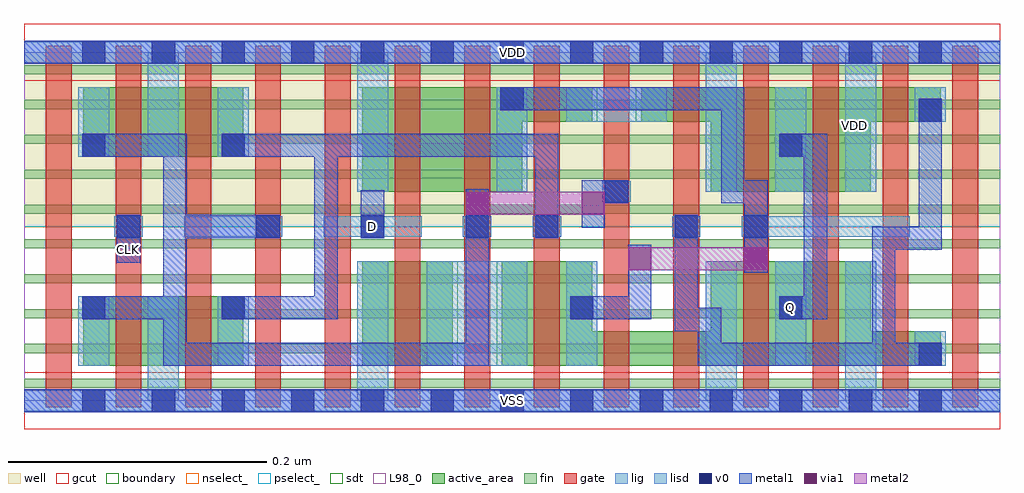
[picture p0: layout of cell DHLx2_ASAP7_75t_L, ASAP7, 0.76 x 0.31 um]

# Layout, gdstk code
import gdstk
lib = gdstk.Library(unit=1e-6, precision=2.5e-10)
def R(c, l, rs):  # rectangles x0, y0, x1, y1
    for r in rs: c.add(gdstk.rectangle(r[:2], r[2:], *l))
def A(c, l, x, y, w, h, nx, ny, dx, dy):  # array of equal rectangles
    R(c, l, [(x+i*dx, y+j*dy, x+i*dx+w, y+j*dy+h) for i in range(nx) for j in range(ny)])
def P(c, l, *ps):  # polygons
    for p in ps: c.add(gdstk.Polygon(p, *l))
well = (1, 0)
fin = (2, 0)
gate = (7, 0)
gcut = (10, 0)
active_area = (11, 0)
nselect_ = (12, 0)
pselect_ = (13, 0)
lig = (16, 0)
lisd = (17, 0)
v0 = (18, 0)
metal1 = (19, 0)
metal2 = (20, 0)
via1 = (21, 0)
sdt = (88, 0)
L98_0 = (98, 0)
boundary = (100, 0)

dhlx2_asap7_75t_l = lib.new_cell('DHLx2_ASAP7_75t_L')
R(dhlx2_asap7_75t_l, well, [(0,0.135,0.756,0.27)])
A(dhlx2_asap7_75t_l, fin, 0, 0.01, 0.756, 0.007, 1, 10, 0, 0.027)
A(dhlx2_asap7_75t_l, gate, 0.017, -0.005, 0.02, 0.28, 14, 1, 0.054, 0)
R(dhlx2_asap7_75t_l, gcut, [(0,-0.022,0.756,0.022), (0,0.248,0.756,0.292)])
R(dhlx2_asap7_75t_l, active_area, [(0.046,0.027,0.17,0.081), (0.262,0.027,0.332,0.108), (0.046,0.189,0.17,0.243)])
P(dhlx2_asap7_75t_l, active_area, [(0.37,0.027),(0.37,0.108),(0.44,0.108),(0.44,0.054),(0.532,0.054),(0.532,0.108),(0.656,0.108),(0.656,0.054),(0.71,0.054),(0.71,0.027)],
  [(0.532,0.162),(0.532,0.216),(0.478,0.216),(0.478,0.243),(0.71,0.243),(0.71,0.216),(0.656,0.216),(0.656,0.162)],
  [(0.262,0.162),(0.262,0.243),(0.44,0.243),(0.44,0.216),(0.386,0.216),(0.386,0.162)])
R(dhlx2_asap7_75t_l, nselect_, [(0,0,0.756,0.135)])
R(dhlx2_asap7_75t_l, pselect_, [(0,0.135,0.756,0.27)])
R(dhlx2_asap7_75t_l, lig, [(0,-0.008,0.756,0.008), (0.07,0.127,0.092,0.143), (0.124,0.127,0.2,0.143), (0.232,0.127,0.308,0.143), (0.34,0.127,0.362,0.143), (0.394,0.127,0.416,0.143), (0.502,0.127,0.524,0.143), (0.556,0.127,0.686,0.143), (0.448,0.154,0.47,0.17), (0,0.262,0.756,0.278)])
R(dhlx2_asap7_75t_l, lisd, [(0.096,0,0.12,0.081), (0.258,0,0.282,0.108), (0.528,0,0.552,0.108), (0.636,0,0.66,0.108), (0.042,0.027,0.066,0.081), (0.15,0.027,0.174,0.081), (0.312,0.027,0.39,0.108), (0.42,0.027,0.444,0.108), (0.582,0.027,0.606,0.108), (0.69,0.027,0.714,0.054), (0.258,0.162,0.282,0.27), (0.366,0.162,0.39,0.243), (0.528,0.162,0.552,0.27), (0.582,0.162,0.606,0.243), (0.636,0.162,0.66,0.27), (0.042,0.189,0.066,0.243), (0.096,0.189,0.12,0.27), (0.15,0.189,0.174,0.243), (0.42,0.216,0.498,0.243), (0.69,0.216,0.714,0.243)])
A(dhlx2_asap7_75t_l, v0, 0.045, -0.009, 0.018, 0.018, 13, 2, 0.054, 0.27)
A(dhlx2_asap7_75t_l, v0, 0.18, 0.126, 0.018, 0.018, 3, 1, 0.081, 0)
R(dhlx2_asap7_75t_l, v0, [(0.693,0.027,0.711,0.045), (0.045,0.063,0.063,0.081), (0.153,0.063,0.171,0.081), (0.423,0.063,0.441,0.081), (0.585,0.063,0.603,0.081), (0.072,0.126,0.09,0.144), (0.396,0.126,0.414,0.144), (0.504,0.126,0.522,0.144), (0.558,0.126,0.576,0.144), (0.45,0.153,0.468,0.171), (0.045,0.189,0.063,0.207), (0.153,0.189,0.171,0.207), (0.585,0.189,0.603,0.207), (0.693,0.216,0.711,0.234), (0.369,0.225,0.387,0.243)])
R(dhlx2_asap7_75t_l, metal1, [(0,-0.009,0.756,0.009), (0.072,0.107,0.09,0.144), (0.261,0.126,0.279,0.163), (0,0.261,0.756,0.279)])
P(dhlx2_asap7_75t_l, metal1, [(0.153,0.063),(0.153,0.081),(0.225,0.081),(0.225,0.189),(0.153,0.189),(0.153,0.207),(0.414,0.207),(0.414,0.126),(0.396,0.126),(0.396,0.189),(0.243,0.189),(0.243,0.063)],
  [(0.522,0.027),(0.522,0.054),(0.504,0.054),(0.504,0.144),(0.522,0.144),(0.522,0.072),(0.54,0.072),(0.54,0.045),(0.657,0.045),(0.657,0.135),(0.693,0.135),(0.693,0.234),(0.711,0.234),(0.711,0.117),(0.675,0.117),(0.675,0.045),(0.711,0.045),(0.711,0.027)],
  [(0.585,0.063),(0.585,0.081),(0.604,0.081),(0.604,0.189),(0.585,0.189),(0.585,0.207),(0.622,0.207),(0.622,0.063)],
  [(0.432,0.134),(0.432,0.171),(0.468,0.171),(0.468,0.153),(0.45,0.153),(0.45,0.134)],
  [(0.423,0.063),(0.423,0.081),(0.468,0.081),(0.468,0.121),(0.486,0.121),(0.486,0.063)],
  [(0.558,0.099),(0.558,0.153),(0.54,0.153),(0.54,0.225),(0.369,0.225),(0.369,0.243),(0.558,0.243),(0.558,0.171),(0.576,0.171),(0.576,0.099)],
  [(0.108,0.027),(0.108,0.063),(0.045,0.063),(0.045,0.081),(0.108,0.081),(0.108,0.189),(0.045,0.189),(0.045,0.207),(0.126,0.207),(0.126,0.144),(0.198,0.144),(0.198,0.126),(0.126,0.126),(0.126,0.045),(0.342,0.045),(0.342,0.164),(0.36,0.164),(0.36,0.027)])
R(dhlx2_asap7_75t_l, metal2, [(0.468,0.101,0.576,0.119), (0.342,0.144,0.45,0.162)])
R(dhlx2_asap7_75t_l, via1, [(0.468,0.101,0.486,0.119), (0.558,0.101,0.576,0.119), (0.342,0.144,0.36,0.162), (0.432,0.144,0.45,0.162)])
A(dhlx2_asap7_75t_l, sdt, 0.042, 0.027, 0.024, 0.054, 3, 2, 0.054, 0.162)
A(dhlx2_asap7_75t_l, sdt, 0.258, 0.027, 0.024, 0.081, 4, 1, 0.054, 0)
A(dhlx2_asap7_75t_l, sdt, 0.528, 0.027, 0.024, 0.081, 3, 2, 0.054, 0.135)
R(dhlx2_asap7_75t_l, sdt, [(0.69,0.027,0.714,0.054), (0.258,0.162,0.282,0.243), (0.366,0.162,0.39,0.243), (0.42,0.216,0.444,0.243), (0.474,0.216,0.498,0.243), (0.69,0.216,0.714,0.243)])
R(dhlx2_asap7_75t_l, L98_0, [(0,0,0.756,0.27)])
R(dhlx2_asap7_75t_l, boundary, [(0,0,0.756,0.27)])
dhlx2_asap7_75t_l.add(gdstk.Label('CLK', (0.081,0.117), layer=19, texttype=251))
dhlx2_asap7_75t_l.add(gdstk.Label('D', (0.27,0.135), layer=19, texttype=251))
dhlx2_asap7_75t_l.add(gdstk.Label('Q', (0.594,0.072), layer=19, texttype=251))
dhlx2_asap7_75t_l.add(gdstk.Label('VSS', (0.378,0), layer=19, texttype=251))
dhlx2_asap7_75t_l.add(gdstk.Label('VDD', (0.378,0.27), layer=19, texttype=251))
dhlx2_asap7_75t_l.add(gdstk.Label('VDD', (0.643,0.213), layer=1, texttype=251))
dhlx2_asap7_75t_l.add(gdstk.Label('VSS', (0.869,0.213), layer=3, texttype=251))

lib.write_gds('DHLx2_ASAP7_75t_L.gds')
